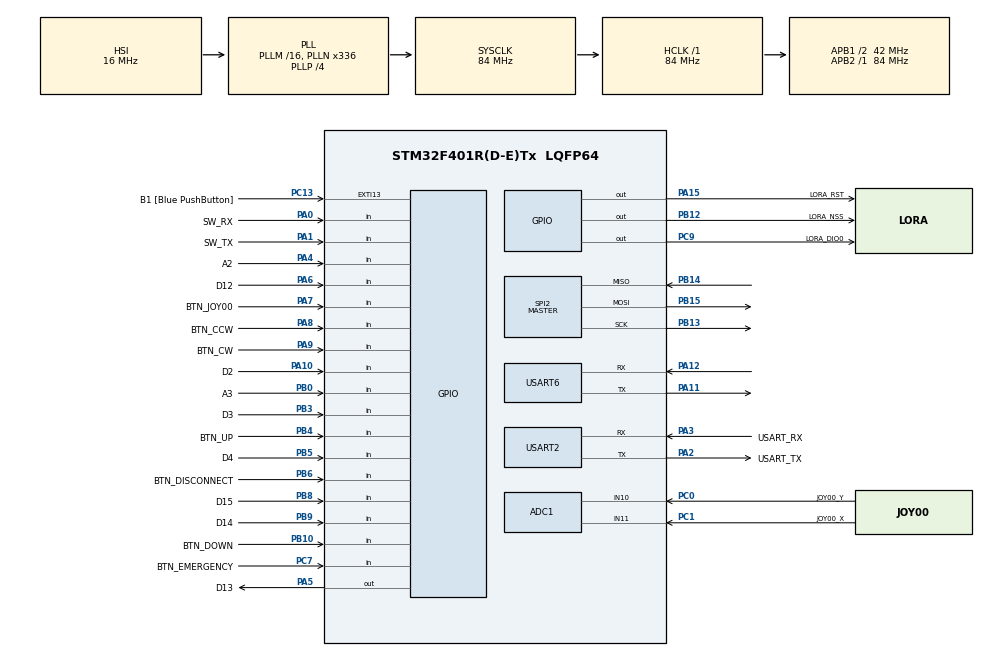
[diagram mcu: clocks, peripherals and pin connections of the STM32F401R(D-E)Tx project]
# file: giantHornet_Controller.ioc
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ADC1.Channel-0\#ChannelRegularConversion=ADC_CHANNEL_10
ADC1.Channel-1\#ChannelRegularConversion=ADC_CHANNEL_10
ADC1.Channel-2\#ChannelRegularConversion=ADC_CHANNEL_10
ADC1.Channel-3\#ChannelRegularConversion=ADC_CHANNEL_10
ADC1.Channel-4\#ChannelRegularConversion=ADC_CHANNEL_11
ADC1.Channel-5\#ChannelRegularConversion=ADC_CHANNEL_11
ADC1.Channel-6\#ChannelRegularConversion=ADC_CHANNEL_11
ADC1.Channel-7\#ChannelRegularConversion=ADC_CHANNEL_11
ADC1.ContinuousConvMode=DISABLE
ADC1.DMAContinuousRequests=ENABLE
ADC1.NbrOfConversion=8
ADC1.NbrOfConversionFlag=1
ADC1.Rank-0\#ChannelRegularConversion=1
ADC1.Rank-1\#ChannelRegularConversion=2
ADC1.Rank-2\#ChannelRegularConversion=3
ADC1.Rank-3\#ChannelRegularConversion=4
ADC1.Rank-4\#ChannelRegularConversion=5
ADC1.Rank-5\#ChannelRegularConversion=6
ADC1.Rank-6\#ChannelRegularConversion=7
ADC1.Rank-7\#ChannelRegularConversion=8
ADC1.SamplingTime-0\#ChannelRegularConversion=ADC_SAMPLETIME_3CYCLES
ADC1.SamplingTime-1\#ChannelRegularConversion=ADC_SAMPLETIME_3CYCLES
ADC1.SamplingTime-2\#ChannelRegularConversion=ADC_SAMPLETIME_3CYCLES
ADC1.SamplingTime-3\#ChannelRegularConversion=ADC_SAMPLETIME_3CYCLES
ADC1.SamplingTime-4\#ChannelRegularConversion=ADC_SAMPLETIME_3CYCLES
ADC1.SamplingTime-5\#ChannelRegularConversion=ADC_SAMPLETIME_3CYCLES
ADC1.SamplingTime-6\#ChannelRegularConversion=ADC_SAMPLETIME_3CYCLES
ADC1.SamplingTime-7\#ChannelRegularConversion=ADC_SAMPLETIME_3CYCLES
ADC1.master=1
Dma.ADC1.0.Direction=DMA_PERIPH_TO_MEMORY
Dma.ADC1.0.FIFOMode=DMA_FIFOMODE_DISABLE
Dma.ADC1.0.Instance=DMA2_Stream0
Dma.ADC1.0.MemDataAlignment=DMA_MDATAALIGN_WORD
Dma.ADC1.0.MemInc=DMA_MINC_ENABLE
Dma.ADC1.0.Mode=DMA_CIRCULAR
Dma.ADC1.0.PeriphDataAlignment=DMA_PDATAALIGN_WORD
Dma.ADC1.0.PeriphInc=DMA_PINC_DISABLE
Dma.ADC1.0.Priority=DMA_PRIORITY_LOW
Dma.Request0=ADC1
Mcu.Family=STM32F4
Mcu.Name=STM32F401R(D-E)Tx
Mcu.Package=LQFP64
NVIC.DMA2_Stream0_IRQn=true\:0\:0\:false\:false\:true\:false\:true\:true
NVIC.PriorityGroup=NVIC_PRIORITYGROUP_4
PA0-WKUP.GPIO_Label=SW_RX
PA0-WKUP.Signal=GPIO_Input
PA1.GPIO_Label=SW_TX
PA1.Signal=GPIO_Input
PA10.GPIO_Label=D2
PA10.Signal=GPIO_Input
PA11.Mode=Asynchronous
PA11.Signal=USART6_TX
PA12.Mode=Asynchronous
PA12.Signal=USART6_RX
PA13.GPIO_Label=TMS
PA13.Mode=Serial_Wire
PA13.Signal=SYS_JTMS-SWDIO
PA14.GPIO_Label=TCK
PA14.Mode=Serial_Wire
PA14.Signal=SYS_JTCK-SWCLK
PA15.GPIO_Label=LORA_RST
PA15.Signal=GPIO_Output
PA2.GPIO_Label=USART_TX
PA2.GPIO_Mode=GPIO_MODE_AF_PP
PA2.GPIO_PuPd=GPIO_NOPULL
PA2.GPIO_Speed=GPIO_SPEED_FREQ_LOW
PA2.Mode=Asynchronous
PA2.Signal=USART2_TX
PA3.GPIO_Label=USART_RX
PA3.GPIO_Mode=GPIO_MODE_AF_PP
PA3.GPIO_PuPd=GPIO_NOPULL
PA3.GPIO_Speed=GPIO_SPEED_FREQ_LOW
PA3.Mode=Asynchronous
PA3.Signal=USART2_RX
PA4.GPIO_Label=A2
PA4.Signal=GPIO_Input
PA5.GPIO_Label=D13
PA5.Signal=GPIO_Output
PA6.GPIO_Label=D12
PA6.Signal=GPIO_Input
PA7.GPIO_Label=BTN_JOY00
PA7.Signal=GPIO_Input
PA8.GPIO_Label=BTN_CCW
PA8.Signal=GPIO_Input
PA9.GPIO_Label=BTN_CW
PA9.Signal=GPIO_Input
PB0.GPIO_Label=A3
PB0.Signal=GPIO_Input
PB10.GPIO_Label=BTN_DOWN
PB10.Signal=GPIO_Input
PB12.GPIO_Label=LORA_NSS
PB12.Signal=GPIO_Output
PB13.Mode=Full_Duplex_Master
PB13.Signal=SPI2_SCK
PB14.Mode=Full_Duplex_Master
PB14.Signal=SPI2_MISO
PB15.Mode=Full_Duplex_Master
PB15.Signal=SPI2_MOSI
PB3.GPIO_Label=D3
PB3.Signal=GPIO_Input
PB4.GPIO_Label=BTN_UP
PB4.Signal=GPIO_Input
PB5.GPIO_Label=D4
PB5.Signal=GPIO_Input
PB6.GPIO_Label=BTN_DISCONNECT
PB6.Signal=GPIO_Input
PB8.GPIO_Label=D15
PB8.Signal=GPIO_Input
PB9.GPIO_Label=D14
PB9.Signal=GPIO_Input
PC0.GPIO_Label=JOY00_Y
PC0.Signal=ADCx_IN10
PC1.GPIO_Label=JOY00_X
PC1.Signal=ADCx_IN11
PC13-ANTI_TAMP.GPIO_Label=B1 [Blue PushButton]
PC13-ANTI_TAMP.GPIO_ModeDefaultEXTI=GPIO_MODE_IT_FALLING
PC13-ANTI_TAMP.GPIO_PuPd=GPIO_NOPULL
PC13-ANTI_TAMP.Signal=GPXTI13
PC14-OSC32_IN.Mode=LSE-External-Oscillator
PC14-OSC32_IN.Signal=RCC_OSC32_IN
PC15-OSC32_OUT.Mode=LSE-External-Oscillator
PC15-OSC32_OUT.Signal=RCC_OSC32_OUT
PC7.GPIO_Label=BTN_EMERGENCY
PC7.Signal=GPIO_Input
PC9.GPIO_Label=LORA_DIO0
PC9.Signal=GPIO_Output
ProjectManager.HeapSize=0x200
ProjectManager.StackSize=0x400
ProjectManager.TargetToolchain=STM32CubeIDE
RCC.48MHZClocksFreq_Value=48000000
RCC.AHBFreq_Value=84000000
RCC.APB1CLKDivider=RCC_HCLK_DIV2
RCC.APB1Freq_Value=42000000
RCC.APB1TimFreq_Value=84000000
RCC.APB2Freq_Value=84000000
RCC.APB2TimFreq_Value=84000000
RCC.CortexFreq_Value=84000000
RCC.HCLKFreq_Value=84000000
RCC.HSE_VALUE=8000000
RCC.HSI_VALUE=16000000
RCC.PLLN=336
RCC.PLLP=RCC_PLLP_DIV4
RCC.PLLQ=7
RCC.SYSCLKFreq_VALUE=84000000
RCC.SYSCLKSource=RCC_SYSCLKSOURCE_PLLCLK
RCC.VCOOutputFreq_Value=336000000
SH.ADCx_IN10.0=ADC1_IN10,IN10
SH.ADCx_IN11.0=ADC1_IN11,IN11
SPI2.BaudRatePrescaler=SPI_BAUDRATEPRESCALER_16
SPI2.Direction=SPI_DIRECTION_2LINES
SPI2.Mode=SPI_MODE_MASTER
SPI2.VirtualType=VM_MASTER
USART2.VirtualMode=VM_ASYNC
USART6.VirtualMode=VM_ASYNC
board=NUCLEO-F401RE

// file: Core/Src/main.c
/* USER CODE BEGIN Header */
/**
  ******************************************************************************
  * @file           : main.c
  * @brief          : Main program body
  ******************************************************************************
  * @attention
  *
  * Copyright (c) 2025 STMicroelectronics.
  * All rights reserved.
  *
  * This software is licensed under terms that can be found in the LICENSE file
  * in the root directory of this software component.
  * If no LICENSE file comes with this software, it is provided AS-IS.
  *
  ******************************************************************************
  */
/* USER CODE END Header */
#include "main.h"
#include "adc.h"
#include "dma.h"
#include "spi.h"
#include "usart.h"
#include "gpio.h"

/* USER CODE BEGIN Includes */
#include <stdio.h>
#include "hardware_controller.h"
#include "hardware_lora.h"
#include "function_controller.h"
#include "define.h"
/* USER CODE END Includes */

void SystemClock_Config(void);

/* USER CODE BEGIN 0 */
int _write(int fd, char *ptr, int len)
{
  HAL_UART_Transmit(&huart2, (const uint8_t *)ptr, len, 100);
  return len;
}
/* USER CODE END 0 */

int main(void)
{

  /* MCU Configuration--------------------------------------------------------*/

  /* Reset of all peripherals, Initializes the Flash interface and the Systick. */
  HAL_Init();

  /* Configure the system clock */
  SystemClock_Config();

  /* Initialize all configured peripherals */
  MX_GPIO_Init();
  MX_DMA_Init();
  MX_USART2_UART_Init();
  MX_ADC1_Init();
  MX_SPI2_Init();
  MX_USART6_UART_Init();
  /* USER CODE BEGIN 2 */
  USER_StatusTypeDef ret = controller_init();
  if(ret == USER_RET_OK) {
    printf("init seq ok!");
  } else {
    printf("init seq error! %d", ret);
    Error_Handler();
  }
  /* USER CODE END 2 */

  /* Infinite loop */
  while (1)
  {

    /* USER CODE BEGIN 3 */
    controller_task();
  }
  /* USER CODE END 3 */
}

void SystemClock_Config(void)
{
  RCC_OscInitTypeDef RCC_OscInitStruct = {0};
  RCC_ClkInitTypeDef RCC_ClkInitStruct = {0};

  /** Configure the main internal regulator output voltage
  */
  __HAL_RCC_PWR_CLK_ENABLE();
  __HAL_PWR_VOLTAGESCALING_CONFIG(PWR_REGULATOR_VOLTAGE_SCALE2);

  /** Initializes the RCC Oscillators according to the specified parameters
  * in the RCC_OscInitTypeDef structure.
  */
  RCC_OscInitStruct.OscillatorType = RCC_OSCILLATORTYPE_HSI;
  RCC_OscInitStruct.HSIState = RCC_HSI_ON;
  RCC_OscInitStruct.HSICalibrationValue = RCC_HSICALIBRATION_DEFAULT;
  RCC_OscInitStruct.PLL.PLLState = RCC_PLL_ON;
  RCC_OscInitStruct.PLL.PLLSource = RCC_PLLSOURCE_HSI;
  RCC_OscInitStruct.PLL.PLLM = 16;
  RCC_OscInitStruct.PLL.PLLN = 336;
  RCC_OscInitStruct.PLL.PLLP = RCC_PLLP_DIV4;
  RCC_OscInitStruct.PLL.PLLQ = 7;
  if (HAL_RCC_OscConfig(&RCC_OscInitStruct) != HAL_OK)
  {
    Error_Handler();
  }

  /** Initializes the CPU, AHB and APB buses clocks
  */
  RCC_ClkInitStruct.ClockType = RCC_CLOCKTYPE_HCLK|RCC_CLOCKTYPE_SYSCLK
                              |RCC_CLOCKTYPE_PCLK1|RCC_CLOCKTYPE_PCLK2;
  RCC_ClkInitStruct.SYSCLKSource = RCC_SYSCLKSOURCE_PLLCLK;
  RCC_ClkInitStruct.AHBCLKDivider = RCC_SYSCLK_DIV1;
  RCC_ClkInitStruct.APB1CLKDivider = RCC_HCLK_DIV2;
  RCC_ClkInitStruct.APB2CLKDivider = RCC_HCLK_DIV1;

  if (HAL_RCC_ClockConfig(&RCC_ClkInitStruct, FLASH_LATENCY_2) != HAL_OK)
  {
    Error_Handler();
  }
}

void Error_Handler(void)
{
  __disable_irq();
  while (1)
  {
  }
}
